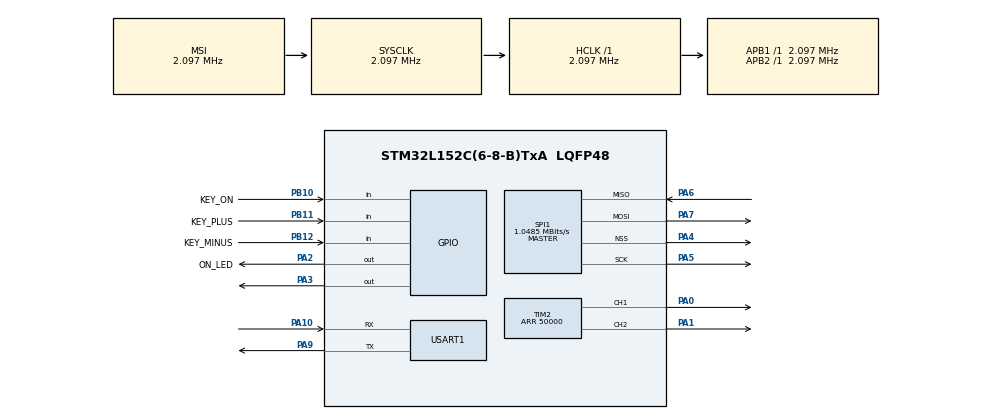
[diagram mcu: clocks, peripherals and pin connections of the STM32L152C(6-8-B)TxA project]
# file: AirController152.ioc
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Mcu.Family=STM32L1
Mcu.Name=STM32L152C(6-8-B)TxA
Mcu.Package=LQFP48
NVIC.PriorityGroup=NVIC_PRIORITYGROUP_4
PA0-WKUP1.Signal=S_TIM2_CH1_ETR
PA1.Signal=S_TIM2_CH2
PA10.Mode=Asynchronous
PA10.Signal=USART1_RX
PA13.Mode=Serial_Wire
PA13.Signal=SYS_JTMS-SWDIO
PA14.Mode=Serial_Wire
PA14.Signal=SYS_JTCK-SWCLK
PA2.GPIO_Label=ON_LED
PA2.Signal=GPIO_Output
PA3.Signal=GPIO_Output
PA4.Mode=NSS_Signal_Hard_Output
PA4.Signal=SPI1_NSS
PA5.Mode=Full_Duplex_Master
PA5.Signal=SPI1_SCK
PA6.Mode=Full_Duplex_Master
PA6.Signal=SPI1_MISO
PA7.Mode=Full_Duplex_Master
PA7.Signal=SPI1_MOSI
PA9.Mode=Asynchronous
PA9.Signal=USART1_TX
PB10.GPIO_Label=KEY_ON
PB10.GPIO_PuPd=GPIO_PULLDOWN
PB10.Signal=GPIO_Input
PB11.GPIO_Label=KEY_PLUS
PB11.GPIO_PuPd=GPIO_PULLDOWN
PB11.Signal=GPIO_Input
PB12.GPIO_Label=KEY_MINUS
PB12.GPIO_PuPd=GPIO_PULLDOWN
PB12.Signal=GPIO_Input
ProjectManager.HeapSize=0x200
ProjectManager.StackSize=0x400
ProjectManager.TargetToolchain=STM32CubeIDE
RCC.AHBFreq_Value=2097000
RCC.APB1Freq_Value=2097000
RCC.APB2Freq_Value=2097000
RCC.HSE_VALUE=24000000
RCC.HSI_VALUE=16000000
RCC.LSE_VALUE=32768
RCC.MSI_VALUE=2097000
RCC.SYSCLKFreq_VALUE=2097000
RCC.VCOOutputFreq_Value=48000000
SH.S_TIM2_CH1_ETR.0=TIM2_CH1,PWM Generation1 CH1
SH.S_TIM2_CH2.0=TIM2_CH2,PWM Generation2 CH2
SPI1.CalculateBaudRate=1.0485 MBits/s
SPI1.Direction=SPI_DIRECTION_2LINES
SPI1.Mode=SPI_MODE_MASTER
SPI1.VirtualNSS=VM_NSSHARD
SPI1.VirtualType=VM_MASTER
TIM2.Channel-PWM\ Generation1\ CH1=TIM_CHANNEL_1
TIM2.Channel-PWM\ Generation2\ CH2=TIM_CHANNEL_2
TIM2.Period=50000
TIM2.Pulse-PWM\ Generation1\ CH1=0
USART1.VirtualMode=VM_ASYNC
VP_RTC_VS_RTC_Activate.Mode=RTC_Enabled
board=custom

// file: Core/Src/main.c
/* USER CODE BEGIN Header */
/**
  ******************************************************************************
  * @file           : main.c
  * @brief          : Main program body
  ******************************************************************************
  * @attention
  *
  * <h2><center>&copy; Copyright (c) 2020 STMicroelectronics.
  * All rights reserved.</center></h2>
  *
  * This software component is licensed by ST under BSD 3-Clause license,
  * the "License"; You may not use this file except in compliance with the
  * License. You may obtain a copy of the License at:
  *                        opensource.org/licenses/BSD-3-Clause
  *
  ******************************************************************************
  */
/* USER CODE END Header */
#include "main.h"

RTC_HandleTypeDef hrtc;

SPI_HandleTypeDef hspi1;

TIM_HandleTypeDef htim2;

UART_HandleTypeDef huart1;

void SystemClock_Config(void);
static void MX_GPIO_Init(void);
static void MX_RTC_Init(void);
static void MX_SPI1_Init(void);
static void MX_TIM2_Init(void);
static void MX_USART1_UART_Init(void);

int main(void)
{

  /* MCU Configuration--------------------------------------------------------*/

  /* Reset of all peripherals, Initializes the Flash interface and the Systick. */
  HAL_Init();

  /* Configure the system clock */
  SystemClock_Config();

  /* Initialize all configured peripherals */
  MX_GPIO_Init();
  MX_RTC_Init();
  MX_SPI1_Init();
  MX_TIM2_Init();
  MX_USART1_UART_Init();
  /* USER CODE BEGIN 2 */

  uint32_t uiKeyOnTime = 0;
  uint32_t uiKeyPlusTime = 0;
  uint32_t uiKeyMinusTime = 0;

  uint32_t uiKeyDelay = 1000;
  uint32_t uiKeyPlusMinusDelay = 100;

  uint8_t bOn = 1;
  int8_t iPercent = 0;

  HAL_TIM_Base_Start_IT(&htim2);
  HAL_TIM_PWM_Start_IT(&htim2,TIM_CHANNEL_1);

  /* USER CODE END 2 */

  /* Infinite loop */
  /* USER CODE BEGIN WHILE */
  while (1)
  {
    uint8_t bKeyOn = HAL_GPIO_ReadPin(KEY_ON_GPIO_Port, KEY_ON_Pin) == GPIO_PIN_SET;
    uint8_t bKeyPlus = HAL_GPIO_ReadPin(KEY_PLUS_GPIO_Port, KEY_PLUS_Pin) == GPIO_PIN_SET;
    uint8_t bKeyMinus = HAL_GPIO_ReadPin(KEY_MINUS_GPIO_Port, KEY_MINUS_Pin) == GPIO_PIN_SET;

    uint32_t uiNow = HAL_GetTick();

    if (bKeyOn) {
      if (uiKeyOnTime == 0) {
        uiKeyOnTime = uiNow;
      }
    } else {
      uiKeyOnTime = 0;
    }

    if (bKeyPlus) {
      if (uiKeyPlusTime == 0) {
        uiKeyPlusTime = uiNow;
      }
    } else {
      uiKeyPlusTime = 0;
    }

    if (bKeyMinus) {
      if (uiKeyMinusTime == 0) {
        uiKeyMinusTime = uiNow;
      }
    } else {
      uiKeyMinusTime = 0;
    }

    if (uiKeyOnTime && uiNow > uiKeyOnTime + uiKeyDelay) {
      uiKeyOnTime = uiNow;
      bOn = bOn ? 0 : 1;
      if (bOn && iPercent == 0) {
        iPercent = 10;
      }
    }

    if (uiKeyPlusTime && uiNow > uiKeyPlusTime + uiKeyPlusMinusDelay) {
      uiKeyPlusTime = uiNow;
      iPercent += 10;
      if (iPercent > 100) {
        iPercent = 100;
      }
    }

    if (uiKeyMinusTime && uiNow > uiKeyMinusTime + uiKeyPlusMinusDelay) {
      uiKeyMinusTime = uiNow;
      iPercent -= 10;
      if (iPercent < 10) {
        iPercent = 10;
      }
    }

    if (bOn) {
      uint32_t uiPwmCompare = iPercent * 500;
      __HAL_TIM_SET_COMPARE(&htim2, TIM_CHANNEL_1, uiPwmCompare);
      HAL_GPIO_WritePin(ON_LED_GPIO_Port, ON_LED_Pin, GPIO_PIN_SET);
    } else {
      __HAL_TIM_SET_COMPARE(&htim2, TIM_CHANNEL_1, 0);
      HAL_GPIO_WritePin(ON_LED_GPIO_Port, ON_LED_Pin, GPIO_PIN_RESET);
    }
    /* USER CODE END WHILE */

  }
}

void SystemClock_Config(void)
{
  RCC_OscInitTypeDef RCC_OscInitStruct = {0};
  RCC_ClkInitTypeDef RCC_ClkInitStruct = {0};
  RCC_PeriphCLKInitTypeDef PeriphClkInit = {0};

  /** Configure the main internal regulator output voltage
  */
  __HAL_PWR_VOLTAGESCALING_CONFIG(PWR_REGULATOR_VOLTAGE_SCALE1);
  /** Initializes the RCC Oscillators according to the specified parameters
  * in the RCC_OscInitTypeDef structure.
  */
  RCC_OscInitStruct.OscillatorType = RCC_OSCILLATORTYPE_LSI|RCC_OSCILLATORTYPE_MSI;
  RCC_OscInitStruct.LSIState = RCC_LSI_ON;
  RCC_OscInitStruct.MSIState = RCC_MSI_ON;
  RCC_OscInitStruct.MSICalibrationValue = 0;
  RCC_OscInitStruct.MSIClockRange = RCC_MSIRANGE_5;
  RCC_OscInitStruct.PLL.PLLState = RCC_PLL_NONE;
  if (HAL_RCC_OscConfig(&RCC_OscInitStruct) != HAL_OK)
  {
    Error_Handler();
  }
  /** Initializes the CPU, AHB and APB buses clocks
  */
  RCC_ClkInitStruct.ClockType = RCC_CLOCKTYPE_HCLK|RCC_CLOCKTYPE_SYSCLK
                              |RCC_CLOCKTYPE_PCLK1|RCC_CLOCKTYPE_PCLK2;
  RCC_ClkInitStruct.SYSCLKSource = RCC_SYSCLKSOURCE_MSI;
  RCC_ClkInitStruct.AHBCLKDivider = RCC_SYSCLK_DIV1;
  RCC_ClkInitStruct.APB1CLKDivider = RCC_HCLK_DIV1;
  RCC_ClkInitStruct.APB2CLKDivider = RCC_HCLK_DIV1;

  if (HAL_RCC_ClockConfig(&RCC_ClkInitStruct, FLASH_LATENCY_0) != HAL_OK)
  {
    Error_Handler();
  }
  PeriphClkInit.PeriphClockSelection = RCC_PERIPHCLK_RTC;
  PeriphClkInit.RTCClockSelection = RCC_RTCCLKSOURCE_LSI;
  if (HAL_RCCEx_PeriphCLKConfig(&PeriphClkInit) != HAL_OK)
  {
    Error_Handler();
  }
}

static void MX_RTC_Init(void)
{

  /** Initialize RTC Only
  */
  hrtc.Instance = RTC;
  hrtc.Init.HourFormat = RTC_HOURFORMAT_24;
  hrtc.Init.AsynchPrediv = 127;
  hrtc.Init.SynchPrediv = 255;
  hrtc.Init.OutPut = RTC_OUTPUT_DISABLE;
  hrtc.Init.OutPutPolarity = RTC_OUTPUT_POLARITY_HIGH;
  hrtc.Init.OutPutType = RTC_OUTPUT_TYPE_OPENDRAIN;
  if (HAL_RTC_Init(&hrtc) != HAL_OK)
  {
    Error_Handler();
  }

}

static void MX_SPI1_Init(void)
{

  /* SPI1 parameter configuration*/
  hspi1.Instance = SPI1;
  hspi1.Init.Mode = SPI_MODE_MASTER;
  hspi1.Init.Direction = SPI_DIRECTION_2LINES;
  hspi1.Init.DataSize = SPI_DATASIZE_8BIT;
  hspi1.Init.CLKPolarity = SPI_POLARITY_LOW;
  hspi1.Init.CLKPhase = SPI_PHASE_1EDGE;
  hspi1.Init.NSS = SPI_NSS_HARD_OUTPUT;
  hspi1.Init.BaudRatePrescaler = SPI_BAUDRATEPRESCALER_2;
  hspi1.Init.FirstBit = SPI_FIRSTBIT_MSB;
  hspi1.Init.TIMode = SPI_TIMODE_DISABLE;
  hspi1.Init.CRCCalculation = SPI_CRCCALCULATION_DISABLE;
  hspi1.Init.CRCPolynomial = 10;
  if (HAL_SPI_Init(&hspi1) != HAL_OK)
  {
    Error_Handler();
  }

}

static void MX_TIM2_Init(void)
{

  TIM_MasterConfigTypeDef sMasterConfig = {0};
  TIM_OC_InitTypeDef sConfigOC = {0};

  htim2.Instance = TIM2;
  htim2.Init.Prescaler = 0;
  htim2.Init.CounterMode = TIM_COUNTERMODE_UP;
  htim2.Init.Period = 50000;
  htim2.Init.ClockDivision = TIM_CLOCKDIVISION_DIV1;
  htim2.Init.AutoReloadPreload = TIM_AUTORELOAD_PRELOAD_DISABLE;
  if (HAL_TIM_PWM_Init(&htim2) != HAL_OK)
  {
    Error_Handler();
  }
  sMasterConfig.MasterOutputTrigger = TIM_TRGO_RESET;
  sMasterConfig.MasterSlaveMode = TIM_MASTERSLAVEMODE_DISABLE;
  if (HAL_TIMEx_MasterConfigSynchronization(&htim2, &sMasterConfig) != HAL_OK)
  {
    Error_Handler();
  }
  sConfigOC.OCMode = TIM_OCMODE_PWM1;
  sConfigOC.Pulse = 0;
  sConfigOC.OCPolarity = TIM_OCPOLARITY_HIGH;
  sConfigOC.OCFastMode = TIM_OCFAST_DISABLE;
  if (HAL_TIM_PWM_ConfigChannel(&htim2, &sConfigOC, TIM_CHANNEL_1) != HAL_OK)
  {
    Error_Handler();
  }
  if (HAL_TIM_PWM_ConfigChannel(&htim2, &sConfigOC, TIM_CHANNEL_2) != HAL_OK)
  {
    Error_Handler();
  }
  HAL_TIM_MspPostInit(&htim2);

}

static void MX_USART1_UART_Init(void)
{

  huart1.Instance = USART1;
  huart1.Init.BaudRate = 115200;
  huart1.Init.WordLength = UART_WORDLENGTH_8B;
  huart1.Init.StopBits = UART_STOPBITS_1;
  huart1.Init.Parity = UART_PARITY_NONE;
  huart1.Init.Mode = UART_MODE_TX_RX;
  huart1.Init.HwFlowCtl = UART_HWCONTROL_NONE;
  huart1.Init.OverSampling = UART_OVERSAMPLING_16;
  if (HAL_UART_Init(&huart1) != HAL_OK)
  {
    Error_Handler();
  }

}

static void MX_GPIO_Init(void)
{
  GPIO_InitTypeDef GPIO_InitStruct = {0};

  /* GPIO Ports Clock Enable */
  __HAL_RCC_GPIOC_CLK_ENABLE();
  __HAL_RCC_GPIOH_CLK_ENABLE();
  __HAL_RCC_GPIOA_CLK_ENABLE();
  __HAL_RCC_GPIOB_CLK_ENABLE();

  /*Configure GPIO pin Output Level */
  HAL_GPIO_WritePin(GPIOA, ON_LED_Pin|GPIO_PIN_3, GPIO_PIN_RESET);

  /*Configure GPIO pins : PC13 PC14 PC15 */
  GPIO_InitStruct.Pin = GPIO_PIN_13|GPIO_PIN_14|GPIO_PIN_15;
  GPIO_InitStruct.Mode = GPIO_MODE_ANALOG;
  GPIO_InitStruct.Pull = GPIO_NOPULL;
  HAL_GPIO_Init(GPIOC, &GPIO_InitStruct);

  /*Configure GPIO pins : PH0 PH1 */
  GPIO_InitStruct.Pin = GPIO_PIN_0|GPIO_PIN_1;
  GPIO_InitStruct.Mode = GPIO_MODE_ANALOG;
  GPIO_InitStruct.Pull = GPIO_NOPULL;
  HAL_GPIO_Init(GPIOH, &GPIO_InitStruct);

  /*Configure GPIO pins : ON_LED_Pin PA3 */
  GPIO_InitStruct.Pin = ON_LED_Pin|GPIO_PIN_3;
  GPIO_InitStruct.Mode = GPIO_MODE_OUTPUT_PP;
  GPIO_InitStruct.Pull = GPIO_NOPULL;
  GPIO_InitStruct.Speed = GPIO_SPEED_FREQ_LOW;
  HAL_GPIO_Init(GPIOA, &GPIO_InitStruct);

  /*Configure GPIO pins : PB0 PB1 PB2 PB13
                           PB14 PB15 PB3 PB4
                           PB5 PB6 PB7 PB8
                           PB9 */
  GPIO_InitStruct.Pin = GPIO_PIN_0|GPIO_PIN_1|GPIO_PIN_2|GPIO_PIN_13
                          |GPIO_PIN_14|GPIO_PIN_15|GPIO_PIN_3|GPIO_PIN_4
                          |GPIO_PIN_5|GPIO_PIN_6|GPIO_PIN_7|GPIO_PIN_8
                          |GPIO_PIN_9;
  GPIO_InitStruct.Mode = GPIO_MODE_ANALOG;
  GPIO_InitStruct.Pull = GPIO_NOPULL;
  HAL_GPIO_Init(GPIOB, &GPIO_InitStruct);

  /*Configure GPIO pins : KEY_ON_Pin KEY_PLUS_Pin KEY_MINUS_Pin */
  GPIO_InitStruct.Pin = KEY_ON_Pin|KEY_PLUS_Pin|KEY_MINUS_Pin;
  GPIO_InitStruct.Mode = GPIO_MODE_INPUT;
  GPIO_InitStruct.Pull = GPIO_PULLDOWN;
  HAL_GPIO_Init(GPIOB, &GPIO_InitStruct);

  /*Configure GPIO pins : PA8 PA11 PA12 PA15 */
  GPIO_InitStruct.Pin = GPIO_PIN_8|GPIO_PIN_11|GPIO_PIN_12|GPIO_PIN_15;
  GPIO_InitStruct.Mode = GPIO_MODE_ANALOG;
  GPIO_InitStruct.Pull = GPIO_NOPULL;
  HAL_GPIO_Init(GPIOA, &GPIO_InitStruct);

}

void Error_Handler(void)
{
}

/************************ (C) COPYRIGHT STMicroelectronics *****END OF FILE****/
